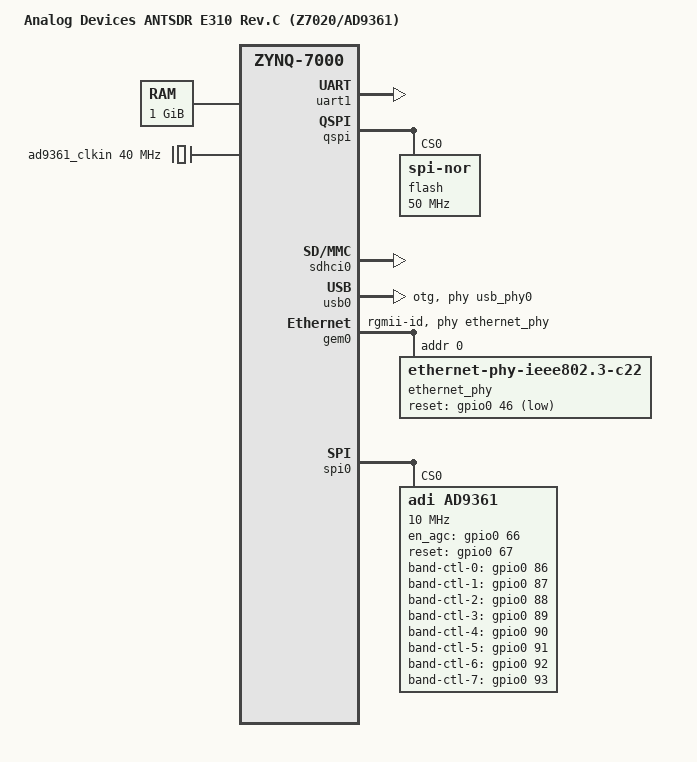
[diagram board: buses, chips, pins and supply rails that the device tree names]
// SPDX-License-Identifier: GPL-2.0+
/*
 * ANTSDR E310 (Xilinx Zynq-7020 / AD9363) — U-Boot control DT
 *
 * This is the U-Boot built-in control FDT (fdtcontroladdr) that U-Boot hands
 * to Linux by default (board-bootloader policy §3: no override needed). It
 * therefore carries the complete PS-side production device tree — both:
 *
 *   (a) the SPL/U-Boot-proper boot essentials: memory (1 GB), UART console,
 *       QSPI + NOR, SD (broken-cd), ethernet (direct MIO RGMII, Marvell
 *       88E1510 @ MDIO addr 0, MIO46 reset); and
 *   (b) the Linux-only PS-side AD9361 nodes: the ad9361-phy SPI control node
 *       on PS SPI0, ad9361-ext-refclk, and fclk-enable=<0xf> to keep the PL
 *       fabric clocks (FCLK0 clocks the cf_axi cores' s_axi_aclk) on through
 *       clk_disable_unused.
 *
 * ── NO PL-DEPENDENT NODE MAY APPEAR IN THIS TREE ────────────────────────────
 *
 * This FDT describes PS hardware ONLY. The PL data path — the fpga-axi wrapper
 * and its cf-ad9361-lpc / cf-ad9361-dds-core-lpc / rx_dma / tx_dma children —
 * is deliberately ABSENT and must never be re-added here.
 *
 * Userspace owns the PL lifecycle in two ordered steps: the fpga_manager
 * programs e310-system.bit.bin at service start, and only THEN does configfs
 * apply the overlay that adds the PL-dependent AXI nodes
 * (demos/sdr-demo/platforms/antsdr-e310/fpga/, driven by e310-fpga-up). U-Boot
 * does not touch the PL at all: `preboot` is empty and its `fpga load` is
 * retired. A base tree that DESCRIBES the PL while nothing has PROGRAMMED it is
 * the one broken shape — cf_axi register access against dark fabric hangs the
 * AXI bus — and it also makes the overlay a duplicate instantiation of the same
 * addresses. Removing these nodes mirrors what linux commit bc815e081a55 did to
 * the kernel DTS (arch/arm/boot/dts/xilinx/zynq-antsdr-e310.dts); design owner:
 * demos/sdr-demo/platforms/antsdr-e310/plan/fpga-boot-consolidation-plan.md.
 *
 * The overlay resolves &amba / &fpga_full / &ad9361 / &clkc / &intc against
 * this tree's __symbols__, which the U-Boot dts build emits for the board DTB
 * (scripts/Makefile.lib adds `dtc -@`) — verified present in the live FDT on
 * e310-beta. Do not disable it.
 *
 * The Linux-only nodes carry NO bootph tag, so fdtgrep strips them from the
 * SPL DTB (SPL stays minimal); U-Boot-proper keeps the full DTB and hands it
 * to the kernel. bootph-all stays on the SPL-critical nodes (per
 * e310-uboot.md §9): amba/slcr/clkc/scutimer already carry it in
 * zynq-7000.dtsi; this board file adds it to the console UART and the QSPI+NOR
 * (SPL loads u-boot.img from QSPI). Without the tags, fdtgrep strips them from
 * the SPL DTB and the SPL panics ("No serial driver found").
 *
 * The (a) essentials mirror the confirmed-working stock kernel DT; the (b)
 * radio nodes are ground-truthed from the STOCK ANTSDR E310 kernel FIT DTB
 * (mtd3 fdt@1) and kept identical to the ported kernel DTS
 * (linux: arch/arm/boot/dts/xilinx/zynq-antsdr-e310.dts). Driver match string:
 *   ad9361.c            spi_device_id "ad9361"      <- "adi,ad9361"
 * The cf_axi ADC/DDS and axi-dmac match strings live with the overlay that
 * carries those nodes, not here.
 */
/dts-v1/;
#include "zynq-7000.dtsi"
#include <dt-bindings/gpio/gpio.h>
#include <dt-bindings/interrupt-controller/irq.h>

/ {
	/*
	 * AD9361, not AD9363.  The stock ADI/ANTSDR string said AD9363 and was
	 * carried over verbatim when this file was written; these are MODIFIED
	 * boards carrying AD9361 silicon (2R2T), which is why the SPI node
	 * below binds "adi,ad9361" (9c44bceb939) -- the model string was the
	 * last place the retired AD9363 naming survived.  Because this FDT is
	 * the one the boards actually run, this string is what the live system
	 * reports in /proc/device-tree/model and on the U-Boot banner.  Kept
	 * identical to the kernel DTS
	 * (linux: arch/arm/boot/dts/xilinx/zynq-antsdr-e310.dts).
	 */
	model = "Analog Devices ANTSDR E310 Rev.C (Z7020/AD9361)";
	compatible = "adi,zynq-antsdr-e310", "xlnx,zynq-7000";

	aliases {
		serial0 = &uart1;
		ethernet0 = &gem0;
		spi0 = &qspi;
		mmc0 = &sdhci0;
	};

	memory@0 {
		device_type = "memory";
		/* 1 GB — confirmed against the stock kernel DT (reg = <0x0 0x40000000>) */
		reg = <0x0 0x40000000>;
	};

	chosen {
		/*
		 * Absolute node path (not a serial0: alias) so the fdtgrep-built
		 * SPL DTB — which may drop /aliases — still resolves a live stdout.
		 * The amba bus node is named "axi" in zynq-7000.dtsi.
		 */
		stdout-path = "/axi/serial@e0001000:115200n8";
	};

	/*
	 * AD9361 external reference clock (40 MHz TCXO on the ANTSDR E310).
	 * The stock DTB models this as an "adjustable-clock" (an ADI out-of-tree
	 * clock provider that is NOT ported); the E310 refin is a fixed 40 MHz
	 * oscillator, so a mainline fixed-clock is the correct in-tree equivalent.
	 * The ad9361 driver fetches it via devm_clk_get(dev, NULL) = clocks[0], so
	 * only the phandle order matters (name is informational).
	 */
	ad9361_clkin: ad9361-ext-refclk {
		compatible = "fixed-clock";
		#clock-cells = <0>;
		clock-frequency = <40000000>;
		clock-output-names = "ad9361_ext_refclk";
	};

	/*
	 * USB OTG (usb0 @e0002000) ULPI transceiver.
	 *
	 * The Zynq-7000 USB core is ChipIdea and talks to its off-chip
	 * high-speed PHY over ULPI; the SoC side of that link is the ULPI
	 * VIEWPORT register at controller_base + 0x170 (architectural on
	 * Zynq-7000, not a board choice). Modelled the same way the ADI
	 * Zynq SDR boards do it (zynq-pluto-sdr.dts phy0, zynq-dlc20-rev1.0.dts
	 * usb_phy0) — the E310 is the same ADI-lineage design and its stock
	 * firmware runs a composite USB gadget (ACM + mass-storage + ethernet)
	 * off this port.
	 *
	 * U-Boot itself does NOT consume this node: drivers/usb/host/ehci-zynq.c
	 * derives the viewport address from its own reg property and never
	 * looks at usb-phy or dr_mode. The node is here so the control FDT we
	 * hand to Linux describes the PHY, and so the binding is documented in
	 * one place. No phy-reset GPIO is listed: the E310 schematic mapping
	 * for it is not confirmed, and inventing a MIO number would be worse
	 * than omitting it.
	 *
	 * COMPATIBLE LIST — this FDT is consumed by BOTH projects, so the node
	 * must satisfy both:
	 *
	 *   "ulpi-phy"       Descriptive only. Grepping both trees shows it
	 *                    matches NO driver in either project: in U-Boot it
	 *                    appears solely in the ADI-lineage board DTS files
	 *                    (zynq-pluto-sdr.dts, zynq-dlc20-rev1.0.dts) and in
	 *                    Linux it has zero hits under drivers/. Kept first
	 *                    (most-specific-first) to record what the part
	 *                    actually is and to stay in step with the sibling
	 *                    ADI Zynq SDR boards.
	 *
	 *   "usb-nop-xceiv"  The entry that actually BINDS. In Linux it matches
	 *                    drivers/usb/phy/phy-generic.c (nop_xceiv_dt_ids),
	 *                    whose probe calls usb_add_phy_dev() registering a
	 *                    USB_PHY_TYPE_USB2 transceiver; the ChipIdea core
	 *                    then picks it up via its last-resort
	 *                    devm_usb_get_phy(dev->parent, USB_PHY_TYPE_USB2)
	 *                    in ci_hdrc_probe() (drivers/usb/chipidea/core.c).
	 *                    Note the mainline Zynq boards zynq-zc702.dts and
	 *                    zynq-zed.dts model this exact ULPI transceiver the
	 *                    same way; their `usb-phy = <&usb_phy0>` phandle is
	 *                    likewise not read by ChipIdea, which is why the
	 *                    compatible — not the phandle — is what matters.
	 *                    Every resource phy-generic touches (reset/vbus
	 *                    GPIOs, main_clk, vcc/vbus regulators) is optional,
	 *                    so this node probes cleanly as-is.
	 *                    CONFIG_NOP_USB_XCEIV=y is set in our kernel.
	 *                    In U-Boot the same string matches
	 *                    drivers/phy/nop-phy.c (UCLASS_PHY); ehci-zynq.c
	 *                    never requests a PHY, so that driver is bound but
	 *                    never probed — no behaviour change on the U-Boot
	 *                    side, which is why this edit cannot affect boot.
	 *
	 * view-port/drv-vbus are retained for documentation only: a grep of the
	 * whole U-Boot tree finds no reader of either property (ehci_zynq_probe
	 * hardcodes the viewport at its own reg + 0x170 and drives VBUS
	 * unconditionally).
	 */
	usb_phy0: phy0@e0002000 {
		compatible = "ulpi-phy", "usb-nop-xceiv";
		#phy-cells = <0>;
		reg = <0xe0002000 0x1000>;
		view-port = <0x0170>;
		drv-vbus;
	};

	/*
	 * XADC die-temperature thermal zone — the board's only over-temperature
	 * shutdown interlock.
	 *
	 * This board boots U-Boot's control FDT (there is no GRUB `devicetree`
	 * override here, unlike e310-alpha), so a kernel-side DTS change cannot
	 * reach it: the zone has to live in this tree. Same shape as the sibling
	 * XC7Z100 board (u-boot a1ae82999c5, zynq-adrv9009.dts).
	 *
	 * The 85000 critical trip is the commercial-grade recommended-operating
	 * junction-temperature ceiling for the Z-7020 die, read from Xilinx
	 * DS187 v1.21 (1 Dec 2020) Table 2 "Recommended Operating Conditions",
	 * symbol T_j. It is NOT the 125 degC Table 1 absolute-maximum stress
	 * rating, which is not a candidate trip value. The fitted temperature
	 * grade is not software-readable (it is the trailing letter of the
	 * ordering part number; PSS_IDCODE identifies device+family only), so
	 * the lowest grade's ceiling is chosen and errs safe for all grades.
	 *
	 * No passive trip: cpufreq is live (333/667 MHz) and could be bound as a
	 * cpufreq-cooling device, but Zynq-7000 scales frequency without scaling
	 * voltage, so throttling buys roughly linear power reduction at best,
	 * and this board has no fan to bind as an active cooling device. The
	 * zone is deliberately a shutdown interlock, not a cooling policy.
	 *
	 * Consumed only by Linux (U-Boot has no thermal core), and carrying no
	 * bootph-* tag it is stripped from the SPL DTB by fdtgrep — verify it on
	 * U-Boot proper's DTB, not the SPL's.
	 */
	thermal-zones {
		soc-thermal {
			polling-delay-passive = <1000>;
			polling-delay = <5000>;
			thermal-sensors = <&adc>;

			trips {
				soc_crit: soc-crit {
					temperature = <85000>;
					hysteresis = <2000>;
					type = "critical";
				};
			};
		};
	};
};

/*
 * The kernel carries #thermal-sensor-cells on adc@f8007100 in its shared
 * zynq-7000.dtsi (commit 4bbee7b8de705); U-Boot's copy of that .dtsi is kept
 * upstream-clean, so the property is added here instead. Without it the
 * thermal-zone above cannot bind to the XADC sensor.
 */
&adc {
	#thermal-sensor-cells = <0>;
};

/*
 * On-chip memory -- describe all 256 KB, not the 64 KB zynq-7000.dtsi assumes.
 *
 * U-Boot's copy of zynq-7000.dtsi is kept upstream-clean and describes the OCM
 * the way the OCM_CFG *reset default* leaves it: one 64 KB bank high at
 * 0xFFFC0000, the other three aliased down at 0x00000000 under DDR.  But
 * arch/arm/mach-zynq/cpu.c -- i.e. THIS U-Boot, on this board -- writes 0x1F to
 * SLCR OCM_CFG (0xF8000910), "Mask out the ROM, map ram into upper addresses",
 * so by the time the control FDT is handed to Linux all four banks are
 * contiguous at 0xFFFC0000-0xFFFFFFFF.  Read back from silicon on e310-alpha,
 * OCM_CFG = 0x0000001F.  192 KB of single-cycle-class SRAM was therefore
 * mapped, writable, and described by nothing.
 *
 * Bank 0 (0xFFFC0000 + 0x10000) stays a bare reserved child, exactly as the
 * dtsi had it, so this cannot regress the existing 64 KB: it holds the ARM
 * exception vector table the FSBL/U-Boot left there.  Nothing branches into it
 * once Linux is up (mach-zynq/platsmp.c stages the CPU1 trampoline at physical
 * 0, i.e. DDR), but the BootROM reloads the FSBL into that bank on every PS
 * reset, so keeping it out of the allocator costs 64 KB and buys certainty.
 *
 * Banks 1-3 carry both `pool` and `export`, which Linux's drivers/misc/sram.c
 * sram_add_partition() tests independently:
 *   pool   -- a named genalloc pool an in-kernel client takes with
 *             of_gen_pool_get(np, "sram", 0); the 802.11 lower-MAC case, where
 *             NAV/CW/CCA state wants SRAM whose latency does not move with DRAM
 *             refresh or PL AXI_HP traffic.
 *   export -- a 0600 sysfs binary attribute, so userspace reaches the same
 *             192 KB without /dev/mem.
 *
 * U-Boot itself consumes NONE of this (it has no mmio-sram driver); the node is
 * here so the control FDT we hand Linux is complete.  This is the counterpart
 * of the kernel-side commit 0688336a9b5cc / d450031616fec, which added the same
 * shape to arch/arm/boot/dts/xilinx/zynq-antsdr-e310.dts for the GRUB-override
 * boot path.  Board-file &node override rather than a dtsi edit, matching the
 * &adc stanza above.
 *
 * No bootph tag: the SPL has no business handing out OCM partitions, so
 * fdtgrep strips this from the SPL DTB and the SPL stays minimal.
 */
&ocm {
	reg = <0xfffc0000 0x40000>;
	ranges = <0 0xfffc0000 0x40000>;

	ocm-lomac@10000 {
		reg = <0x10000 0x30000>;
		label = "ocm-lomac";
		pool;
		export;
	};
};

&uart1 {
	bootph-all;
	status = "okay";
};

&qspi {
	bootph-all;
	status = "okay";
	num-cs = <1>;
	is-dual = <0>;

	flash@0 {
		bootph-all;
		/* W25Q256 (32 MiB); "jedec,spi-nor" autodetects via JEDEC ID/SFDP.
		 * (Stock DT labels this n25q256a — the generic node works for both.) */
		compatible = "jedec,spi-nor";
		reg = <0x0>;
		spi-tx-bus-width = <1>;
		spi-rx-bus-width = <4>;
		spi-max-frequency = <50000000>;

		/*
		 * The W25Q256 RESET# pin is not wired on this board and the
		 * Zynq warm reset does not issue a flash software reset, so
		 * the 4-byte-address-mode latch (EN4B) survives a reboot. The
		 * BootROM only ever issues 3-byte reads, so a NOR left in EN4B
		 * is unreadable to it and the board will not boot until it is
		 * power-cycled — which is exactly how this board was bricked
		 * on 2026-07-26.
		 *
		 * broken-flash-reset is the only thing that prevents that.
		 * Linux drivers/mtd/spi-nor/core.c:
		 *   spi_nor_init_flags()  reads of_property_read_bool(np,
		 *                         "broken-flash-reset") -> sets
		 *                         SNOR_F_BROKEN_RESET;
		 *   spi_nor_restore()     exits 4-byte mode on remove/shutdown
		 *                         ONLY under
		 *                         `nor->flags & SNOR_F_BROKEN_RESET`;
		 *   spi_nor_adjust_hwcaps() additionally masks off the
		 *                         stateful SNOR_HWCAPS_X_X_X modes.
		 * Property name + semantics per
		 * Documentation/devicetree/bindings/mtd/jedec,spi-nor.yaml
		 * (boolean; "denote the absence of a reliable reset
		 * mechanism").
		 *
		 * U-Boot ignores the property entirely (no reader anywhere in
		 * the tree), so this is a no-op for the bootloader and cannot
		 * affect the QSPI boot path.
		 */
		broken-flash-reset;

		/*
		 * No `partitions` node, deliberately.
		 *
		 * This FDT is what Linux runs (U-Boot hands it over via the EFI
		 * config table), so a partition table here is the LIVE one. It
		 * used to carry the ADI map -- qspi-fsbl-uboot @0, qspi-uboot-env
		 * @0x100000, qspi-nvmfs @0x120000, qspi-linux @0x200000 -- which
		 * the 2026-07-27 restructure retired. The NOR is now one combined
		 * bootloader blob at 0x0 (SPL + payload at
		 * CONFIG_SYS_SPI_U_BOOT_OFFS), a 64 KB config sector at 0x1F0000,
		 * and spare from 0x200000.
		 *
		 * Nothing reads a partition table on this board: the SPL loads
		 * its payload from a raw offset, flashing is raw `sf write`, and
		 * the DFU alt map (bootloader/config/spare, in
		 * board/xilinx/zynq/zynq-e310/board.c set_dfu_alt_info()) is raw
		 * offsets. The DFU map is the single authoritative description of
		 * the layout -- a second, contradictory one here is pure drift
		 * hazard, and it would become actively wrong the moment the
		 * Linux-side spi-nor probe is fixed (it currently fails -22, so
		 * no MTD device is created from these labels either way).
		 */
	};
};

&sdhci0 {
	bootph-all;
	status = "okay";
	broken-cd;	/* SD card-detect line dead on this HamGeek clone — poll for a card */
	disable-wp;	/* no write-protect switch wired */
	no-1-8-v;	/* Zynq-7000 SDHCI is 3.3V-only, no UHS 1.8V signalling */
};

/*
 * USB OTG port, inherited status = "disabled" from zynq-7000.dtsi until now.
 * Enabled so U-Boot can bind drivers/usb/host/ehci-zynq.c (UCLASS_USB) — which
 * is also the entry point the ChipIdea *gadget* (CONFIG_CI_UDC) uses: it calls
 * usb_setup_ehci_gadget(), which re-probes the first UCLASS_USB device with
 * init_type = USB_INIT_DEVICE. So this one node is what makes `ums`, `dfu` and
 * `fastboot` over USB possible at all.
 *
 * No bootph tag: the SPL has no business touching USB, so fdtgrep strips this
 * node (and usb_phy0) from the SPL DTB and the SPL stays minimal.
 */
&usb0 {
	status = "okay";
	dr_mode = "otg";	/* physical micro-USB OTG jack; Linux-side only */
	usb-phy = <&usb_phy0>;
};

&gem0 {
	status = "okay";
	phy-mode = "rgmii-id";
	phy-handle = <&ethernet_phy>;

	/* GEM RGMII + MDIO are DIRECT on MIO (muxed by ps7_init/FSBL) — NOT the
	 * openwifi gmii2rgmii/EMIO shim. PHY is a Marvell 88E1510 at MDIO addr 0;
	 * MIO46 is its reset (which also re-straps the MDIO address to 0). */
	ethernet_phy: ethernet-phy@0 {
		reg = <0>;
		compatible = "ethernet-phy-ieee802.3-c22";
		/* NOTE: stock DTB encodes flag 0x1 = GPIO_ACTIVE_LOW (88E1510 RESET_N
		 * is active-low). Task KEY FACTS said GPIO_ACTIVE_HIGH — see report. */
		reset-gpios = <&gpio0 46 GPIO_ACTIVE_LOW>;
	};
};

/*
 * ── Linux-only AD9361 SDR nodes (NO bootph — stripped from the SPL DTB) ──
 * Kept byte-for-byte in step with the kernel production DTS
 * (linux: arch/arm/boot/dts/xilinx/zynq-antsdr-e310.dts).
 */

/*
 * AD9361 RF transceiver SPI control interface (PS SPI0 @e0006000).
 *
 * The AD936x driver binds by SPI modalias ONLY -- ad9361.c has no
 * of_match_table, so the SPI core's compatible-minus-vendor fallback
 * ("adi,ad9361" -> "ad9361") is the entire binding path, and that one string
 * selects the variant. It is load-bearing, not cosmetic: ad9361_probe() does
 *
 *   if (spi_get_device_id(spi)->driver_data == ID_AD9364) {
 *           phy->pdata->rx2tx2 = false;
 *           phy->pdata->rx1tx1_mode_use_rx_num = 1;
 *           phy->pdata->rx1tx1_mode_use_tx_num = 1;
 *   }
 *
 * i.e. "adi,ad9364" OVERRIDES the adi,2rx-2tx-mode-enable property below and
 * pins the part to one RX / one TX chain. These are MODIFIED boards carrying
 * AD9361 silicon (2R2T), and the PL is synthesized 2R2T -- axi_ad9361
 * ADI_REG_CONFIG bit 4 (ADI_MODE_1R1T) reads CLEAR and CHAN_CNTRL(0..3) decode
 * while (4..7) return 0xDEADDEAD -- so "adi,ad9364" was throwing away a second
 * RX chain the hardware has. Cost of 2R2T: the per-chain max sample rate
 * halves (61.44 -> 30.72 MHz, ad9361.c: 61440000U / (rx2tx2 ? 2 : 1)); the
 * board already runs at 30.72 MHz, so nothing reachable is lost.
 */
&spi0 {
	status = "okay";
	#address-cells = <1>;
	#size-cells = <0>;

	ad9361: ad9361-phy@0 {
		/*
		 * No #address-cells/#size-cells here: the eight children
		 * (ad9361_{rx,tx}_ant_port_{a,b}, adi_{rx,tx}_band_setting_{0,1})
		 * carry no reg and are reached only by phandle, and this node has
		 * no ranges/dma-ranges, so of_n_addr_cells() never consults them.
		 * #clock-cells IS load-bearing -- the AD9361 is a clock provider
		 * (rx_sampl_clk / tx_sampl_clk).
		 */
		#clock-cells = <1>;
		compatible = "adi,ad9361";

		/* SPI Setup */
		reg = <0>;
		spi-cpha;
		spi-max-frequency = <10000000>;

		/* Clocks */
		clocks = <&ad9361_clkin>;
		clock-names = "ad9361_ext_refclk";
		clock-output-names = "rx_sampl_clk", "tx_sampl_clk";

		/* Digital Interface Control */
		adi,pp-tx-swap-enable;
		adi,pp-rx-swap-enable;
		adi,rx-frame-pulse-mode-enable;
		adi,xo-disable-use-ext-refclk-enable;
		adi,full-port-enable;
		adi,digital-interface-tune-fir-disable;
		adi,digital-interface-tune-skip-mode = <0>;
		adi,tx-fb-clock-delay = <0>;
		adi,tx-data-delay = <9>;
		adi,swap-ports-enable;

		/* ENSM Mode */
		adi,frequency-division-duplex-mode-enable;

		adi,rx-rf-port-input-select = <0>;
		adi,rx-rf-port-input-select-lock-enable;
		adi,tx-rf-port-input-select = <0>;
		adi,tx-rf-port-input-select-lock-enable;
		adi,tx-attenuation-mdB = <10000>;
		adi,tx-lo-powerdown-managed-enable;

		adi,rf-rx-bandwidth-hz = <18000000>;
		adi,rf-tx-bandwidth-hz = <18000000>;
		adi,rx-synthesizer-frequency-hz = /bits/ 64 <2400000000>;
		adi,tx-synthesizer-frequency-hz = /bits/ 64 <2450000000>;

		/*				BBPLL     ADC        R2CLK     R1CLK    CLKRF    RSAMPL  */
		adi,rx-path-clock-frequencies = <983040000 245760000 122880000 61440000 30720000 30720000>;
		/*				BBPLL     DAC        T2CLK     T1CLK    CLKTF    TSAMPL  */
		adi,tx-path-clock-frequencies = <983040000 122880000 122880000 61440000 30720000 30720000>;

		/* Gain Control */
		adi,gc-rx1-mode = <2>;
		adi,gc-rx2-mode = <2>;
		adi,gc-adc-ovr-sample-size = <4>;
		adi,gc-adc-small-overload-thresh = <47>;
		adi,gc-adc-large-overload-thresh = <58>;
		adi,gc-lmt-overload-high-thresh = <800>;
		adi,gc-lmt-overload-low-thresh = <704>;
		adi,gc-dec-pow-measurement-duration = <8192>;
		adi,gc-low-power-thresh = <24>;

		/* Manual Gain Control Setup */
		adi,mgc-inc-gain-step = <2>;
		adi,mgc-dec-gain-step = <2>;
		adi,mgc-split-table-ctrl-inp-gain-mode = <0>;

		/* Automatic Gain Control Setup */
		adi,agc-attack-delay-extra-margin-us = <1>;
		adi,agc-outer-thresh-high = <5>;
		adi,agc-outer-thresh-high-dec-steps = <2>;
		adi,agc-inner-thresh-high = <10>;
		adi,agc-inner-thresh-high-dec-steps = <1>;
		adi,agc-inner-thresh-low = <12>;
		adi,agc-inner-thresh-low-inc-steps = <1>;
		adi,agc-outer-thresh-low = <18>;
		adi,agc-outer-thresh-low-inc-steps = <2>;
		adi,agc-adc-small-overload-exceed-counter = <10>;
		adi,agc-adc-large-overload-exceed-counter = <10>;
		adi,agc-adc-large-overload-inc-steps = <2>;
		adi,agc-lmt-overload-large-exceed-counter = <10>;
		adi,agc-lmt-overload-small-exceed-counter = <10>;
		adi,agc-lmt-overload-large-inc-steps = <2>;
		adi,agc-gain-update-interval-us = <1000>;

		/* Fast AGC */
		adi,fagc-dec-pow-measurement-duration = <64>;
		adi,fagc-lp-thresh-increment-steps = <1>;
		adi,fagc-lp-thresh-increment-time = <5>;
		adi,fagc-energy-lost-stronger-sig-gain-lock-exit-cnt = <8>;
		adi,fagc-final-overrange-count = <3>;
		adi,fagc-gain-index-type-after-exit-rx-mode = <0>;
		adi,fagc-lmt-final-settling-steps = <1>;
		adi,fagc-lock-level = <10>;
		adi,fagc-lock-level-gain-increase-upper-limit = <5>;
		adi,fagc-lock-level-lmt-gain-increase-enable;
		adi,fagc-lpf-final-settling-steps = <1>;
		adi,fagc-optimized-gain-offset = <5>;
		adi,fagc-power-measurement-duration-in-state5 = <64>;
		adi,fagc-rst-gla-engergy-lost-goto-optim-gain-enable;
		adi,fagc-rst-gla-engergy-lost-sig-thresh-below-ll = <10>;
		adi,fagc-rst-gla-engergy-lost-sig-thresh-exceeded-enable;
		adi,fagc-rst-gla-if-en-agc-pulled-high-mode = <0>;
		adi,fagc-rst-gla-large-adc-overload-enable;
		adi,fagc-rst-gla-large-lmt-overload-enable;
		adi,fagc-rst-gla-stronger-sig-thresh-above-ll = <10>;
		adi,fagc-rst-gla-stronger-sig-thresh-exceeded-enable;
		adi,fagc-state-wait-time-ns = <260>;
		adi,fagc-use-last-lock-level-for-set-gain-enable;

		/* RSSI */
		adi,rssi-restart-mode = <3>;
		adi,rssi-delay = <1>;
		adi,rssi-wait = <1>;
		adi,rssi-duration = <1000>;

		/* Control Outputs */
		adi,ctrl-outs-index = <0>;
		adi,ctrl-outs-enable-mask = <0xFF>;

		/* AuxADC Temp Sense Control */
		adi,temp-sense-measurement-interval-ms = <1000>;
		adi,temp-sense-offset-signed = <0xCE>;
		adi,temp-sense-periodic-measurement-enable;

		/* AuxDAC Control */
		adi,aux-dac-manual-mode-enable;
		adi,aux-dac1-default-value-mV = <0>;
		adi,aux-dac1-rx-delay-us = <0>;
		adi,aux-dac1-tx-delay-us = <0>;
		adi,aux-dac2-default-value-mV = <0>;
		adi,aux-dac2-rx-delay-us = <0>;
		adi,aux-dac2-tx-delay-us = <0>;

		/* Control GPIOs (ANTSDR E310 map, from stock DTB) */
		en_agc-gpios = <&gpio0 66 GPIO_ACTIVE_HIGH>;
		reset-gpios = <&gpio0 67 GPIO_ACTIVE_HIGH>;

		/* External band-control GPIOs (stock ANTSDR map) */
		adi,band-ctl-0-gpio = <&gpio0 86 GPIO_ACTIVE_HIGH>;
		adi,band-ctl-1-gpio = <&gpio0 87 GPIO_ACTIVE_HIGH>;
		adi,band-ctl-2-gpio = <&gpio0 88 GPIO_ACTIVE_HIGH>;
		adi,band-ctl-3-gpio = <&gpio0 89 GPIO_ACTIVE_HIGH>;
		adi,band-ctl-4-gpio = <&gpio0 90 GPIO_ACTIVE_HIGH>;
		adi,band-ctl-5-gpio = <&gpio0 91 GPIO_ACTIVE_HIGH>;
		adi,band-ctl-6-gpio = <&gpio0 92 GPIO_ACTIVE_HIGH>;
		adi,band-ctl-7-gpio = <&gpio0 93 GPIO_ACTIVE_HIGH>;

		/* Mode Setup */
		adi,2rx-2tx-mode-enable;

		ad9361_rx_ant_port_a: ad9361_rx_ant_port_a {
			adi,rx-rf-port-input-select = <0>;
		};

		ad9361_rx_ant_port_b: ad9361_rx_ant_port_b {
			adi,rx-rf-port-input-select = <1>;
		};

		ad9361_tx_ant_port_a: ad9361_tx_ant_port_a {
			adi,tx-rf-port-input-select = <0>;
		};

		ad9361_tx_ant_port_b: ad9361_tx_ant_port_b {
			adi,tx-rf-port-input-select = <1>;
		};

		/*
		 * ── EXTERNAL BAND CONTROL ────────────────────────────────────
		 *
		 * U-Boot consumes NONE of this; it is here because this FDT is
		 * what Linux runs.  The consumer is the kernel's
		 * ad9361_ext_band_ctrl.c (built when
		 * CONFIG_AD9361_EXT_BAND_CONTROL is set; enabled for this board
		 * by 830e41c50).  ad9361.c calls
		 * ad9361_adjust_{rx,tx}_ext_band_settings() on every LO change,
		 * which picks the child whose [lo-freq-min, lo-freq-max) contains
		 * the new LO and applies it.
		 *
		 * HOW adi,gpio-settings IS ENCODED -- read off the driver, not
		 * off a harness's 8-bit GPIO word:
		 *
		 *   ad9361_populate_objs() takes devm_gpiod_get(dev,
		 *   "adi,band-ctl-N", 0) for N = 0,1,... until -ENOENT, so
		 *   ngpios = 8 and array index N is exactly the
		 *   adi,band-ctl-N-gpio = <&gpio0 (86+N)> above.
		 *
		 *   ad9361_parse_gpio_settings() reads the property as a u32
		 *   array of EXACTLY ngpios entries -- a short list is -EINVAL --
		 *   index-aligned to N.
		 *
		 *   Each entry is an OPCODE from the kernel's
		 *   include/dt-bindings/iio/adc/adi,ad9361.h: 0 = OP_LOW,
		 *   1 = OP_HIGH, 2 = OP_INPUT, 3 = OP_NOP.  It is NOT a bitmask.
		 *
		 *   ad9361_apply_gpio_settings() drives them with
		 *   gpiod_direction_output_raw(), i.e. RAW: the GPIO_ACTIVE_HIGH
		 *   flag on the adi,band-ctl-N-gpio phandles above is BYPASSED,
		 *   so opcode 1 is a physical high on the ball.
		 *
		 * BALL MAP for gpio0 86..93 (PL ps_gpio_o[39:32]):
		 *   idx 0 VCRX1_H  idx 1 VCRX1_L  idx 2 VCTX1_H  idx 3 VCTX1_L
		 *   idx 4 VCRX2_H  idx 5 VCRX2_L  idx 6 VCTX2_H  idx 7 VCTX2_L
		 *
		 * WHICH WAY ROUND -- MEASURED, and the reason these four nodes no
		 * longer match the stock ADI/ANTSDR DTB.  The stock data had
		 * adi_rx_band_setting_0 (0-3 GHz, the band that CONTAINS 2.4 GHz)
		 * as <0 1 3 3 0 1 3 3>, i.e. _H = LOW / _L = HIGH -- pattern
		 * 0x22, which is the 3-6 GHz path.  Receive-only on both E310s,
		 * 2400-2484 MHz, 3 passes, both attenuators floored and the TX LO
		 * down, with the released 0x00 state taken first AND last as a
		 * drift control (claude repo: demos/sdr-demo/platforms/
		 * antsdr-e310/tests/e310-rx-band-isolation.sh and .../incidents/
		 * 2026-08-02-band-control-belongs-in-the-kernel.md), whole-band
		 * mean dBFS vs released:
		 *
		 *   0x11  _H=1/_L=0  (low path)  +7.01/+6.89 alpha  +6.13/+6.48 beta
		 *   0x22  _H=0/_L=1  (high path) -3.08/-3.76 alpha  -3.23/-3.18 beta
		 *
		 * So the stock 0-3 GHz setting was not merely suboptimal, it was
		 * the worst of the four states measured -- ~3 dB below doing
		 * nothing and ~10 dB below the correct path.  The two settings
		 * are simply swapped for this board's front end, on RX and TX
		 * alike.  Drift between the two 0x00 controls was 0.02-1.23 dB,
		 * far below the effect.
		 *
		 * adi,band-ctl-post IS SWAPPED WITH THEM, and deliberately.  The
		 * post hook selects the AD9361 RF port, and
		 * ad9361_apply_rx_port_settings() calls ad9361_set_rx_port()
		 * DIRECTLY (ad9361.c:3164).  The
		 * adi,rx-rf-port-input-select-lock-enable guard above lives only
		 * in ad9361_set_rf_port() (ad9361.c:7701), the sysfs path, so it
		 * does NOT stop the band controller.  The stock data would move
		 * 0-3 GHz onto RF port B, which is not the configuration any
		 * measurement on this board was taken in -- every one was on port
		 * A, this node's adi,{rx,tx}-rf-port-input-select = <0>.  Pointing
		 * the 0-3 GHz settings at port A keeps the proven pairing (low
		 * path + port A) and leaves the untested port-B combination out
		 * of the demo band.
		 *
		 * NOTHING ON A BOARD CHANGES UNTIL THE NOR IS REFLASHED.  Both
		 * E310s take their runtime DT from this control FDT in NOR, so
		 * this correction reaches them only through a NOR write.  Until
		 * then the live correction is the runtime configfs overlay
		 * (claude repo: demos/sdr-demo/platforms/antsdr-e310/fpga/
		 * e310-n27-gpio.dts, deployed as e310-pl-gpio.dtbo), which
		 * carries the identical values and is applied while ad9361 is
		 * unbound.  After a reflash the overlay becomes redundancy rather
		 * than the sole copy of the correction.
		 */

		/* Receive Side */
		adi_rx_band_setting_0 {
			adi,lo-freq-min = /bits/ 64 <0>;
			adi,lo-freq-max = /bits/ 64 <3000000000>;
			/* 0-3 GHz: _H = 1, _L = 0 (the low path) + RF port A */
			adi,gpio-settings = <1 0 3 3 1 0 3 3>;
			adi,band-ctl-post = <&ad9361_rx_ant_port_a 0>;
		};

		adi_rx_band_setting_1 {
			adi,lo-freq-min = /bits/ 64 <3000000000>;
			adi,lo-freq-max = /bits/ 64 <6000000000>;
			/* 3-6 GHz: the complement */
			adi,gpio-settings = <0 1 3 3 0 1 3 3>;
			adi,band-ctl-post = <&ad9361_rx_ant_port_b 0>;
		};

		/* Transmit Side */
		adi_tx_band_setting_0 {
			adi,lo-freq-min = /bits/ 64 <0>;
			adi,lo-freq-max = /bits/ 64 <3000000000>;
			adi,gpio-settings = <3 3 1 0 3 3 1 0>;
			adi,band-ctl-post = <&ad9361_tx_ant_port_a 0>;
		};

		adi_tx_band_setting_1 {
			adi,lo-freq-min = /bits/ 64 <3000000000>;
			adi,lo-freq-max = /bits/ 64 <6000000000>;
			adi,gpio-settings = <3 3 0 1 3 3 0 1>;
			adi,band-ctl-post = <&ad9361_tx_ant_port_b 0>;
		};
	};
};

&clkc {
	/* Pin all PL fabric clocks on (matches the stock ANTSDR fdt@1). Without this
	 * the board inherits fclk-enable=<0> from zynq-7000.dtsi and clk_disable_unused
	 * gates off FCLK0 -- which clocks the cf_axi cores' s_axi_aclk -- so the first
	 * cf_axi_adc register read hard-hangs the AXI bus. */
	fclk-enable = <0xf>;
};
